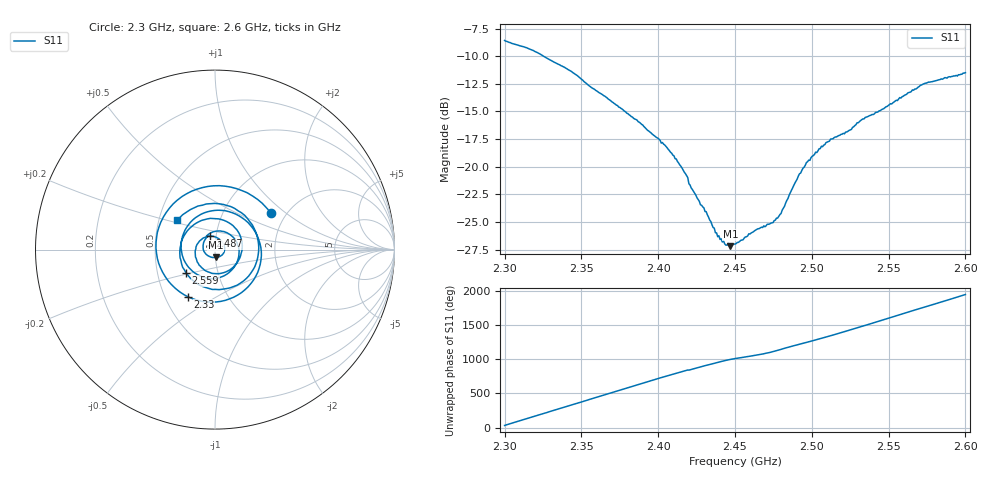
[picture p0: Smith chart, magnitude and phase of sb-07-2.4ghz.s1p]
! NanoVNA-App
! Date: 2026-05-22 17:34:30
! Start: 2.3GHz Stop: 2.6GHz Points: 401
! S-Parameter data: F S11
# Hz S RI R 50
!  Frequency  S11_Real  S11_Imag
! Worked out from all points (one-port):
!   401 points, 2.3 GHz to 2.6 GHz, reference 50 ohm
!   lowest |S11| = -27.2 dB at 2.447 GHz (marker M1), VSWR 1.09, Z = 50.3 - j4.38 ohm
!   |S11| at or under -10 dB: 2.325 GHz to end of sweep
!   S11 on the Smith chart (normalised r, x): 2.3 GHz: 1.66, +0.80; 2.33 GHz: 0.65, -0.38; 2.487 GHz: 0.93, +0.14; 2.559 GHz: 0.70, -0.19; 2.6 GHz: 0.62, +0.22
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2.3e9  0.3098 0.2066
2.30825e9  -0.00924 0.3553
2.31725e9  -0.3017 0.1529
2.32325e9  -0.3135 -0.0771
2.33e9  -0.1517 -0.2623
2.3375e9  0.1036 -0.2655
2.34725e9  0.2582 -0.0114
2.35775e9  0.0792 0.2109
2.3675e9  -0.149 0.1368
2.375e9  -0.1832 -0.0288
2.3855e9  -0.0274 -0.1612
2.39675e9  0.1281 -0.0549
2.4125e9  0.0199 0.1038
2.42675e9  -0.0667 0.0207
2.447e9  0.00499 -0.0434
2.45e9  0.0143 -0.0423
2.4875e9  -0.0293 0.0749
2.504e9  -0.1021 -0.059
2.5145e9  0.0154 -0.1344
2.525e9  0.143 -0.0326
2.54225e9  -0.0412 0.1713
2.55125e9  -0.1876 0.0441
2.55875e9  -0.161 -0.1305
2.5625e9  -0.0907 -0.1955
2.57075e9  0.1231 -0.1986
2.5805e9  0.2428 0.0307
2.591e9  0.0464 0.2516
2.6e9  -0.2108 0.1627
